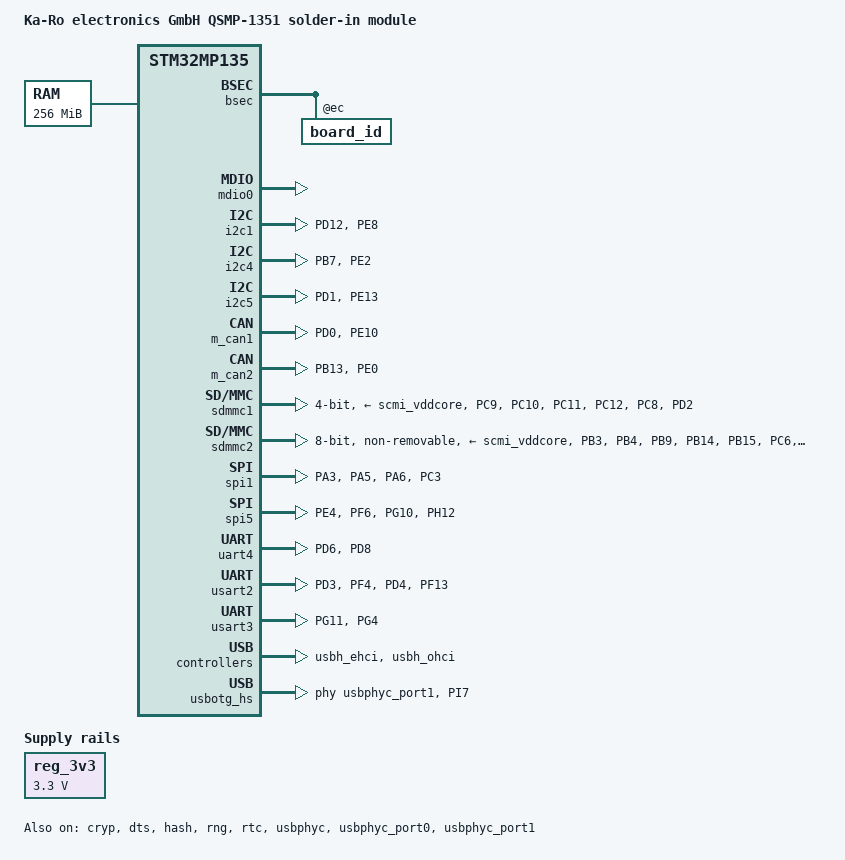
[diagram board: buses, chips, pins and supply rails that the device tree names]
// SPDX-License-Identifier: (GPL-2.0 OR BSD-3-Clause)
/*
 * Copyright (C) 2024 Markus Bauer <MB@KARO-electronics.de>
 */

/dts-v1/;

#include <dt-bindings/pinctrl/stm32-pinfunc.h>
#include <dt-bindings/regulator/st,stm32mp13-regulator.h>

#include "stm32mp135.dtsi"
#include "stm32mp13xc.dtsi"

/ {
	model = "Ka-Ro electronics GmbH QSMP-1351 solder-in module";
	compatible = "st,stm32mp135c-qsmp-1351", "st,stm32mp135";

	aliases {
		serial0 = &uart4;
		serial1 = &usart3;
		serial2 = &usart2;
		ethernet0 = &eth1;
		mmc0 = &sdmmc2;
		mmc1 = &sdmmc1;
		usbh = &usbh_ehci;
		usbotg = &usbotg_hs;
	};

	chosen {
		#address-cells = <1>;
		#size-cells = <1>;
		ranges;
		stdout-path = "serial0:115200n8";

		framebuffer {
			compatible = "simple-framebuffer";
			clocks = <&rcc LTDC_PX>;
			status = "disabled";
		};
	};

	memory@c0000000 {
		device_type = "memory";
		reg = <0xc0000000 0x10000000>;
	};

	reserved-memory {
		#address-cells = <1>;
		#size-cells = <1>;
		ranges;

		optee@ce000000{
			reg = <0xce000000 0x2000000>;
			no-map;
		};

		optee_framebuffer@cd000000 {
			reg = <0xcd000000 0x1000000>;
			no-map;
		};
	};

	reg_3v3: reg-3v3 {
		compatible = "regulator-fixed";
		regulator-name = "reg-3v3";
		regulator-min-microvolt = <3300000>;
		regulator-max-microvolt = <3300000>;
		regulator-always-on;
	};
};

&bsec {
	status = "okay";

	board_id: board_id@ec {
		reg = <0xec 0x4>;
		st,non-secure-otp;
	};
};

&cryp {
	status = "okay";
};

&dts {
	status = "okay";
};

&eth1 {
	pinctrl-names = "default", "sleep";

	mdio0: mdio0 {
		#address-cells = <1>;
		#size-cells = <0>;
		compatible = "snps,dwmac-mdio";
	};
};

&hash {
	status = "okay";
};

&i2c1 {
	pinctrl-names = "default", "sleep";
	pinctrl-0 = <&i2c1_pins>;
	pinctrl-1 = <&i2c1_sleep_pins>;
	/delete-property/ dmas;
	/delete-property/ dma-names;
	status = "okay";
};

&i2c4 {
	pinctrl-names = "default", "sleep";
	pinctrl-0 = <&i2c4_pins>;
	pinctrl-1 = <&i2c4_sleep_pins>;
	/delete-property/ dmas;
	/delete-property/ dma-names;
	status = "okay";
};

&i2c5 {
	pinctrl-names = "default", "sleep";
	pinctrl-0 = <&i2c5_pins>;
	pinctrl-1 = <&i2c5_sleep_pins>;
	/delete-property/ dmas;
	/delete-property/ dma-names;
	status = "okay";
};

&m_can1 {
	pinctrl-names = "default", "sleep";
	pinctrl-0 = <&fdcan1_pins>;
	pinctrl-1 = <&fdcan1_sleep_pins>;
	status = "okay";
};

&m_can2 {
	pinctrl-names = "default", "sleep";
	pinctrl-0 = <&fdcan2_pins>;
	pinctrl-1 = <&fdcan2_sleep_pins>;
	status = "okay";
};

&rcc {
	status = "okay";
};

&rng {
	status = "okay";
};

&rtc {
	status = "okay";
};

&scmi_regu {
	scmi_vddcpu: voltd-vddcpu {
		reg = <VOLTD_SCMI_REGU0>;
		regulator-name = "vddcpu";
	};

	scmi_vddcore: voltd-vddcore {
		reg = <VOLTD_SCMI_REGU1>;
		regulator-name = "vdd";
	};
};

&sdmmc1 {
	pinctrl-names = "default", "opendrain", "sleep";
	pinctrl-0 = <&sdmmc1_pins>;
	pinctrl-1 = <&sdmmc1_opendrain_pins>;
	pinctrl-2 = <&sdmmc1_sleep_pins>;
	vmmc-supply = <&scmi_vddcore>;
	st,neg-edge;
	bus-width = <4>;
};

&sdmmc2 {
	pinctrl-names = "default", "opendrain", "sleep";
	pinctrl-0 = <&sdmmc2_pins>;
	pinctrl-1 = <&sdmmc2_opendrain_pins>;
	pinctrl-2 = <&sdmmc2_sleep_pins>;
	vmmc-supply = <&scmi_vddcore>;
	non-removable;
	no-sd;
	no-sdio;
	st,neg-edge;
	bus-width = <8>;
	mmc-ddr-3_3v;
	status = "okay";
};

&spi1 {
	pinctrl-names = "default", "sleep";
	pinctrl-0 = <&spi1_pins>;
	pinctrl-1 = <&spi1_sleep_pins>;
	status = "okay";
};

&spi5 {
	pinctrl-names = "default", "sleep";
	pinctrl-0 = <&spi5_pins>;
	pinctrl-1 = <&spi5_sleep_pins>;
	status = "okay";
};

&uart4 {
	pinctrl-names = "default", "sleep";
	pinctrl-0 = <&uart4_pins>;
	pinctrl-1 = <&uart4_sleep_pins>;
	/delete-property/ dmas;
	/delete-property/ dma-names;
	status = "okay";
};

&usart2 {
	pinctrl-names = "default", "sleep";
	pinctrl-0 = <&usart2_pins>;
	pinctrl-1 = <&usart2_sleep_pins>;
	/delete-property/ dmas;
	/delete-property/ dma-names;
	status = "okay";
};

&usart3 {
	pinctrl-names = "default", "sleep";
	pinctrl-0 = <&usart3_pins>;
	pinctrl-1 = <&usart3_sleep_pins>;
	/delete-property/ dmas;
	/delete-property/ dma-names;
	status = "okay";
};

&usbh_ehci {
	status = "okay";
};

&usbh_ohci {
	status = "okay";
};

&usbotg_hs {
	pinctrl-names = "default", "sleep";
	pinctrl-0 = <&usb_otg_hs_pins>;
	pinctrl-1 = <&usb_otg_hs_sleep_pins>;
	status = "okay";
	phys = <&usbphyc_port1 0>;
	phy-names = "usb2-phy";
	usb-role-switch;
};

&usbphyc {
	status = "okay";
};

&usbphyc_port0 {
	status = "okay";
};

&usbphyc_port1 {
	status = "okay";
};

&pinctrl {
	fdcan1_pins: fdcan1-0 {
		pins1 {
			pinmux = <STM32_PINMUX('D', 0, AF9)>; /* FDCAN1_RX */
			bias-disable;
		};

		pins2 {
			pinmux = <STM32_PINMUX('E', 10, AF9)>; /* FDCAN1_TX */
			bias-disable;
			drive-push-pull;
			slew-rate = <0>;
		};
	};

	fdcan1_sleep_pins: fdcan1_sleep-0 {
		pins {
			pinmux = <
				  STM32_PINMUX('D', 0, ANALOG) /* FDCAN1_RX */
				  STM32_PINMUX('E', 10, ANALOG) /* FDCAN1_TX */
			>;
		};
	};

	fdcan2_pins: fdcan2-0 {
		pins1 {
			pinmux = <STM32_PINMUX('B', 13, AF9)>; /* FDCAN2_TX */
			bias-disable;
			drive-push-pull;
			slew-rate = <0>;
		};

		pins2 {
			pinmux = <STM32_PINMUX('E', 0, AF9)>; /* FDCAN2_RX */
			bias-disable;
		};
	};

	fdcan2_sleep_pins: fdcan2_sleep-0 {
		pins {
			pinmux = <
				  STM32_PINMUX('B', 13, ANALOG) /* FDCAN2_TX */
				  STM32_PINMUX('E', 0, ANALOG) /* FDCAN2_RX */
			>;
		};
	};

	i2c1_pins: i2c1-0 {
		pins {
			pinmux = <
				  STM32_PINMUX('D', 12, AF5) /* I2C1_SCL */
				  STM32_PINMUX('E', 8, AF5) /* I2C1_SDA */
			>;
			bias-disable;
			drive-open-drain;
			slew-rate = <0>;
		};
	};

	i2c1_sleep_pins: i2c1_sleep-0 {
		pins {
			pinmux = <
			 	  STM32_PINMUX('D', 12, ANALOG) /* I2C1_SCL */
				  STM32_PINMUX('E', 8, ANALOG) /* I2C1_SDA */
			>;
		};
	};

	i2c4_pins: i2c4-0 {
		pins {
			pinmux = <
				  STM32_PINMUX('B', 7, AF6) /* I2C4_SDA */
				  STM32_PINMUX('E', 2, AF4) /* I2C4_SCL */
			>;
			bias-disable;
			drive-open-drain;
			slew-rate = <0>;
		};
	};

	i2c4_sleep_pins: i2c4_sleep-0 {
		pins {
			pinmux = <
				  STM32_PINMUX('B', 7, ANALOG) /* I2C4_SDA */
				  STM32_PINMUX('E', 2, ANALOG) /* I2C4_SCL */
			>;
		};
	};

	i2c5_pins: i2c5-0 {
		pins {
			pinmux = <
				  STM32_PINMUX('D', 1, AF4) /* I2C5_SCL */
				  STM32_PINMUX('E', 13, AF4) /* I2C5_SDA */
			>;
			bias-disable;
			drive-open-drain;
			slew-rate = <0>;
		};
	};

	i2c5_sleep_pins: i2c5_sleep-0 {
		pins {
			pinmux = <
				  STM32_PINMUX('D', 1, ANALOG) /* I2C5_SCL */
				  STM32_PINMUX('E', 13, ANALOG) /* I2C5_SDA */
			>;
		};
	};

	sdmmc1_pins: sdmmc1-0 {
		pins1 {
			pinmux = <
				  STM32_PINMUX('C', 9, AF12) /* SDMMC1_D1 */
				  STM32_PINMUX('C', 10, AF12) /* SDMMC1_D2 */
				  STM32_PINMUX('C', 11, AF12) /* SDMMC1_D3 */
			>;
			bias-disable;
			drive-push-pull;
			slew-rate = <1>;
		};

		pins2 {
			pinmux = <STM32_PINMUX('C', 12, AF12)>; /* SDMMC1_CK */
			bias-disable;
			drive-push-pull;
			slew-rate = <3>;
		};

		pins3 {
			pinmux = <
				  STM32_PINMUX('C', 8, AF12) /* SDMMC1_D0 */
				  STM32_PINMUX('D', 2, AF12) /* SDMMC1_CMD */
			>;
			bias-pull-up;
			drive-push-pull;
			slew-rate = <1>;
		};
	};

	sdmmc1_opendrain_pins: sdmmc1_opendrain-0 {
		pins1 {
			pinmux = <
				  STM32_PINMUX('C', 9, AF12) /* SDMMC1_D1 */
				  STM32_PINMUX('C', 10, AF12) /* SDMMC1_D2 */
				  STM32_PINMUX('C', 11, AF12) /* SDMMC1_D3 */
			>;
			bias-disable;
			drive-push-pull;
			slew-rate = <1>;
		};

		pins2 {
			pinmux = <STM32_PINMUX('C', 12, AF12)>; /* SDMMC1_CK */
			bias-disable;
			drive-push-pull;
			slew-rate = <3>;
		};

		pins3 {
			pinmux = <STM32_PINMUX('C', 8, AF12)>; /* SDMMC1_D0 */
			bias-pull-up;
			drive-push-pull;
			slew-rate = <1>;
		};

		pins4 {
			pinmux = <STM32_PINMUX('D', 2, AF12)>; /* SDMMC1_CMD */
			bias-pull-up;
			drive-open-drain;
			slew-rate = <1>;
		};
	};

	sdmmc1_sleep_pins: sdmmc1_sleep-0 {
		pins {
			pinmux = <
				  STM32_PINMUX('C', 8, ANALOG) /* SDMMC1_D0 */
				  STM32_PINMUX('C', 9, ANALOG) /* SDMMC1_D1 */
				  STM32_PINMUX('C', 10, ANALOG) /* SDMMC1_D2 */
				  STM32_PINMUX('C', 11, ANALOG) /* SDMMC1_D3 */
				  STM32_PINMUX('C', 12, ANALOG) /* SDMMC1_CK */
				  STM32_PINMUX('D', 2, ANALOG) /* SDMMC1_CMD */
			>;
		};
	};

	sdmmc2_pins: sdmmc2-0 {
		pins1 {
			pinmux = <
				  STM32_PINMUX('B', 3, AF10) /* SDMMC2_D2 */
				  STM32_PINMUX('B', 4, AF10) /* SDMMC2_D3 */
				  STM32_PINMUX('B', 9, AF10) /* SDMMC2_D5 */
				  STM32_PINMUX('B', 14, AF10) /* SDMMC2_D0 */
				  STM32_PINMUX('B', 15, AF10) /* SDMMC2_D1 */
				  STM32_PINMUX('C', 6, AF10) /* SDMMC2_D6 */
				  STM32_PINMUX('C', 7, AF10) /* SDMMC2_D7 */
				  STM32_PINMUX('F', 0, AF10) /* SDMMC2_D4 */
				  STM32_PINMUX('G', 6, AF10) /* SDMMC2_CMD */
			>;
			bias-disable;
			drive-push-pull;
			slew-rate = <1>;
		};

		pins2 {
			pinmux = <STM32_PINMUX('E', 3, AF10)>; /* SDMMC2_CK */
			bias-disable;
			drive-push-pull;
			slew-rate = <3>;
		};
	};

	sdmmc2_opendrain_pins: sdmmc2_opendrain-0 {
		pins1 {
			pinmux = <
				  STM32_PINMUX('B', 3, AF10) /* SDMMC2_D2 */
				  STM32_PINMUX('B', 4, AF10) /* SDMMC2_D3 */
				  STM32_PINMUX('B', 9, AF10) /* SDMMC2_D5 */
				  STM32_PINMUX('B', 14, AF10) /* SDMMC2_D0 */
				  STM32_PINMUX('B', 15, AF10) /* SDMMC2_D1 */
				  STM32_PINMUX('C', 6, AF10) /* SDMMC2_D6 */
				  STM32_PINMUX('C', 7, AF10) /* SDMMC2_D7 */
				  STM32_PINMUX('F', 0, AF10) /* SDMMC2_D4 */
			>;
			bias-disable;
			drive-push-pull;
			slew-rate = <1>;
		};

		pins2 {
			pinmux = <STM32_PINMUX('E', 3, AF10)>; /* SDMMC2_CK */
			bias-disable;
			drive-push-pull;
			slew-rate = <3>;
		};

		pins3 {
			pinmux = <STM32_PINMUX('G', 6, AF10)>; /* SDMMC2_CMD */
			bias-disable;
			drive-open-drain;
			slew-rate = <1>;
		};
	};

	sdmmc2_sleep_pins: sdmmc2_sleep-0 {
		pins {
			pinmux = <
				  STM32_PINMUX('B', 3, ANALOG) /* SDMMC2_D2 */
				  STM32_PINMUX('B', 4, ANALOG) /* SDMMC2_D3 */
				  STM32_PINMUX('B', 9, ANALOG) /* SDMMC2_D5 */
				  STM32_PINMUX('B', 14, ANALOG) /* SDMMC2_D0 */
				  STM32_PINMUX('B', 15, ANALOG) /* SDMMC2_D1 */
				  STM32_PINMUX('C', 6, ANALOG) /* SDMMC2_D6 */
				  STM32_PINMUX('C', 7, ANALOG) /* SDMMC2_D7 */
				  STM32_PINMUX('E', 3, ANALOG) /* SDMMC2_CK */
				  STM32_PINMUX('F', 0, ANALOG) /* SDMMC2_D4 */
				  STM32_PINMUX('G', 6, ANALOG) /* SDMMC2_CMD */
			>;
		};
	};

	spi1_pins: spi1-0 {
		pins {
			pinmux = <
				  STM32_PINMUX('A', 3, AF5) /* SPI1_MOSI */
				  STM32_PINMUX('A', 5, AF5) /* SPI1_NSS */
				  STM32_PINMUX('A', 6, AF5) /* SPI1_MISO */
				  STM32_PINMUX('C', 3, AF6) /* SPI1_SCK */
			>;
			bias-disable;
			drive-push-pull;
			slew-rate = <1>;
		};
	};

	spi1_sleep_pins: spi1_sleep-0 {
		pins {
			pinmux = <
				  STM32_PINMUX('A', 3, ANALOG) /* SPI1_MOSI */
				  STM32_PINMUX('A', 5, ANALOG) /* SPI1_NSS */
				  STM32_PINMUX('A', 6, ANALOG) /* SPI1_MISO */
				  STM32_PINMUX('C', 3, ANALOG) /* SPI1_SCK */
			>;
		};
	};

	spi5_pins: spi5-0 {
		pins {
			pinmux = <
				  STM32_PINMUX('E', 4, AF1) /* SPI5_MISO */
				  STM32_PINMUX('F', 6, AF5) /* SPI5_NSS */
				  STM32_PINMUX('G', 10, AF5) /* SPI5_SCK */
				  STM32_PINMUX('H', 12, AF5) /* SPI5_MOSI */
			>;
			bias-disable;
			drive-push-pull;
			slew-rate = <1>;
		};
	};

	spi5_sleep_pins: spi5_sleep-0 {
		pins {
			pinmux = <
				  STM32_PINMUX('E', 4, ANALOG) /* SPI5_MISO */
				  STM32_PINMUX('F', 6, ANALOG) /* SPI5_NSS */
				  STM32_PINMUX('G', 10, ANALOG) /* SPI5_SCK */
				  STM32_PINMUX('H', 12, ANALOG) /* SPI5_MOSI */
			>;
		};
	};

	uart4_pins: uart4-0 {
		pins1 {
			pinmux = <STM32_PINMUX('D', 6, AF8)>; /* UART4_TX */
			bias-disable;
			drive-push-pull;
			slew-rate = <0>;
		};

		pins2 {
			pinmux = <STM32_PINMUX('D', 8, AF8)>; /* UART4_RX */
			bias-disable;
		};
	};

	uart4_sleep_pins: uart4_sleep-0 {
		pins {
			pinmux = <
				  STM32_PINMUX('D', 6, ANALOG) /* UART4_TX */
				  STM32_PINMUX('D', 8, ANALOG) /* UART4_RX */
			>;
		};
	};

	usart2_pins: usart2-0 {
		pins1 {
			pinmux = <
				  STM32_PINMUX('D', 3, AF3) /* USART2_CTS */
				  STM32_PINMUX('F', 4, AF3) /* USART2_RX */
			>;
			bias-disable;
		};

		pins2 {
			pinmux = <
				  STM32_PINMUX('D', 4, AF3) /* USART2_RTS */
				  STM32_PINMUX('F', 13, AF7) /* USART2_TX */
			>;
			bias-disable;
			drive-push-pull;
			slew-rate = <0>;
		};
	};

	usart2_sleep_pins: usart2_sleep-0 {
		pins {
			pinmux = <
				  STM32_PINMUX('D', 3, ANALOG) /* USART2_CTS */
				  STM32_PINMUX('D', 4, ANALOG) /* USART2_RTS */
				  STM32_PINMUX('F', 4, ANALOG) /* USART2_RX */
				  STM32_PINMUX('F', 13, ANALOG) /* USART2_TX */
			>;
		};
	};

	usart3_pins: usart3-0 {
		pins1 {
			pinmux = <STM32_PINMUX('G', 11, AF7)>; /* USART3_TX */
			bias-disable;
			drive-push-pull;
			slew-rate = <0>;
		};

		pins2 {
			pinmux = <STM32_PINMUX('G', 4, AF8)>; /* USART3_RX */
			bias-disable;
		};
	};

	usart3_sleep_pins: usart3_sleep-0 {
		pins {
			pinmux = <
				  STM32_PINMUX('G', 4, ANALOG) /* USART3_RX */
				  STM32_PINMUX('G', 11, ANALOG) /* USART3_TX */
			>;
		};
	};

	usb_otg_hs_pins: usb_otg_hs-0 {
		pins {
			pinmux = <STM32_PINMUX('I', 7, ANALOG)>; /* USB_OTG_HS_VBUS */
		};
	};

	usb_otg_hs_sleep_pins: usb_otg_hs_sleep-0 {
		pins {
			pinmux = <STM32_PINMUX('I', 7, ANALOG)>; /* USB_OTG_HS_VBUS */
		};
	};
};
